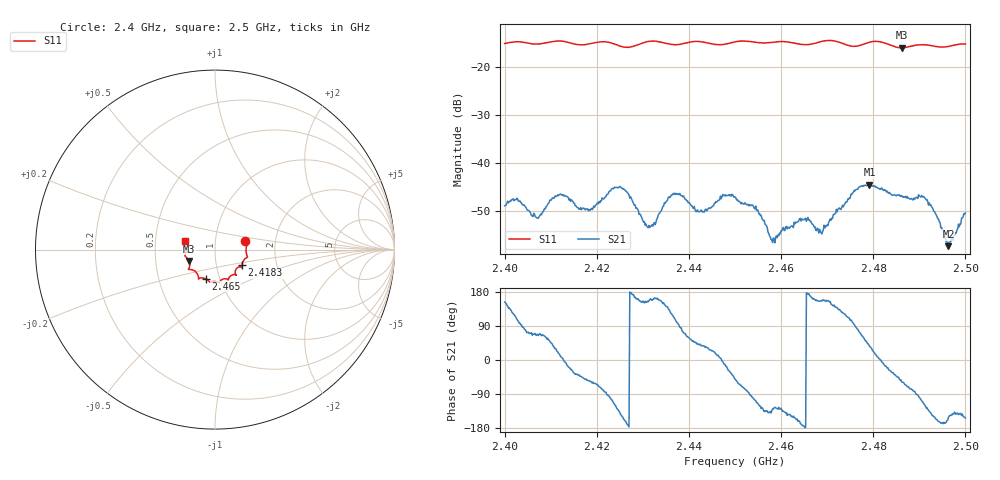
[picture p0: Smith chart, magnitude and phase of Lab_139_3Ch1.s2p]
# Hz S RI R 50
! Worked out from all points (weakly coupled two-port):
!   601 points, 2.4 GHz to 2.5 GHz, reference 50 ohm
!   highest |S21| = -44.54 dB at 2.4792 GHz (marker M1); lowest = -57.4 dB at 2.4963 GHz (marker M2)
!   lowest |S11| = -16.0 dB at 2.4862 GHz (marker M3), VSWR 1.38, Z = 37.1 - j4.8 ohm
!   |S11| at or under -10 dB: start of sweep to end of sweep
!   S12 and S22 are empty: the file has one direction only
!   S11 on the Smith chart (normalised r, x): 2.4 GHz: 1.40, +0.13; 2.4183 GHz: 1.33, -0.24; 2.465 GHz: 0.86, -0.29; 2.5 GHz: 0.71, +0.07
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2.4e9  0.169 0.0458  -0.00319 0.00163  0 0  0 0
2.407167e9  0.1728 -0.00563  0.00102 0.00247  0 0  0 0
2.412167e9  0.1811 -0.0421  0.00468 0.000715  0 0  0 0
2.416667e9  0.1552 -0.0682  0.00234 -0.00226  0 0  0 0
2.418333e9  0.1504 -0.0868  0.0019 -0.00266  0 0  0 0
2.424667e9  0.1367 -0.0962  -0.00368 -0.00408  0 0  0 0
2.431e9  0.1168 -0.1412  -0.00195 0.000901  0 0  0 0
2.433333e9  0.1172 -0.1411  -0.00268 0.000984  0 0  0 0
2.436833e9  0.0917 -0.1437  -0.00162 0.0044  0 0  0 0
2.442e9  0.0737 -0.1689  0.00232 0.00209  0 0  0 0
2.45e9  0.0253 -0.1805  0.00284 -0.00339  0 0  0 0
2.4545e9  0.0111 -0.1798  -0.00105 -0.00339  0 0  0 0
2.458167e9  -0.0193 -0.1791  -0.000926 -0.00115  0 0  0 0
2.465e9  -0.0529 -0.162  -0.00258 -0.000228  0 0  0 0
2.466667e9  -0.0714 -0.1575  -0.00224 0.000609  0 0  0 0
2.468667e9  -0.0881 -0.1611  -0.00172 0.000755  0 0  0 0
2.479167e9  -0.143 -0.1107  0.00468 0.00365  0 0  0 0
2.483333e9  -0.1421 -0.0959  0.00439 -0.00202  0 0  0 0
2.486167e9  -0.145 -0.0632  0.00242 -0.00387  0 0  0 0
2.491333e9  -0.167 -0.0315  -0.0022 -0.00361  0 0  0 0
2.496333e9  -0.162 0.0203  -0.00119 -0.000657  0 0  0 0
2.5e9  -0.1669 0.0473  -0.00269 -0.00136  0 0  0 0
